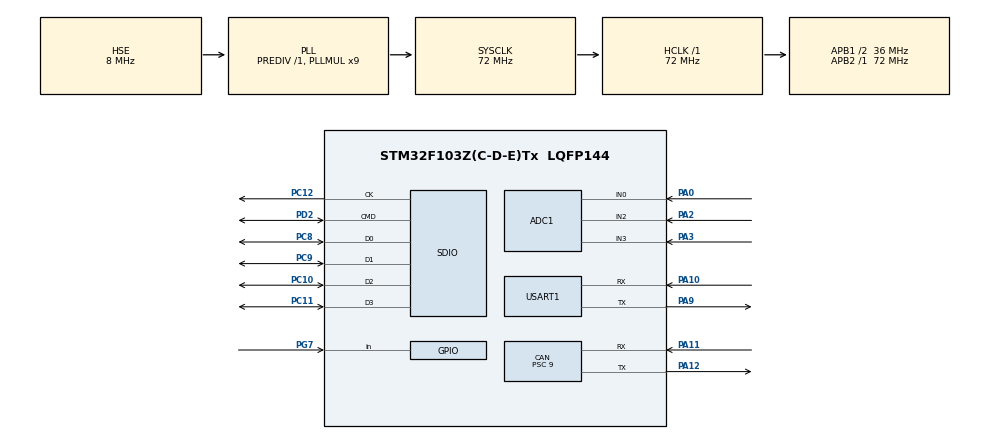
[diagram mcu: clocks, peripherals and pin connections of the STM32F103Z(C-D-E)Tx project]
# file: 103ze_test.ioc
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ADC1.Channel-16\#ChannelRegularConversion=ADC_CHANNEL_0
ADC1.Channel-17\#ChannelRegularConversion=ADC_CHANNEL_3
ADC1.Channel-18\#ChannelRegularConversion=ADC_CHANNEL_2
ADC1.ContinuousConvMode=ENABLE
ADC1.DiscontinuousConvMode=DISABLE
ADC1.EnableRegularConversion=ENABLE
ADC1.InjNumberOfConversion=0
ADC1.NbrOfConversion=3
ADC1.NbrOfConversionFlag=1
ADC1.Rank-16\#ChannelRegularConversion=1
ADC1.Rank-17\#ChannelRegularConversion=2
ADC1.Rank-18\#ChannelRegularConversion=3
ADC1.SamplingTime-16\#ChannelRegularConversion=ADC_SAMPLETIME_1CYCLE_5
ADC1.SamplingTime-17\#ChannelRegularConversion=ADC_SAMPLETIME_1CYCLE_5
ADC1.SamplingTime-18\#ChannelRegularConversion=ADC_SAMPLETIME_1CYCLE_5
ADC1.master=1
CAN.BS1=CAN_BS1_3TQ
CAN.BS2=CAN_BS2_4TQ
CAN.CalculateTimeBit=2000
CAN.CalculateTimeQuantum=250.0
CAN.NART=ENABLE
CAN.Prescaler=9
Dma.ADC1.2.Direction=DMA_PERIPH_TO_MEMORY
Dma.ADC1.2.Instance=DMA1_Channel1
Dma.ADC1.2.MemDataAlignment=DMA_MDATAALIGN_HALFWORD
Dma.ADC1.2.MemInc=DMA_MINC_ENABLE
Dma.ADC1.2.Mode=DMA_CIRCULAR
Dma.ADC1.2.PeriphDataAlignment=DMA_PDATAALIGN_HALFWORD
Dma.ADC1.2.PeriphInc=DMA_PINC_DISABLE
Dma.ADC1.2.Priority=DMA_PRIORITY_LOW
Dma.Request0=USART1_RX
Dma.Request1=USART1_TX
Dma.Request2=ADC1
Dma.USART1_RX.0.Direction=DMA_PERIPH_TO_MEMORY
Dma.USART1_RX.0.Instance=DMA1_Channel5
Dma.USART1_RX.0.MemDataAlignment=DMA_MDATAALIGN_BYTE
Dma.USART1_RX.0.MemInc=DMA_MINC_ENABLE
Dma.USART1_RX.0.Mode=DMA_NORMAL
Dma.USART1_RX.0.PeriphDataAlignment=DMA_PDATAALIGN_BYTE
Dma.USART1_RX.0.PeriphInc=DMA_PINC_DISABLE
Dma.USART1_RX.0.Priority=DMA_PRIORITY_LOW
Dma.USART1_TX.1.Direction=DMA_MEMORY_TO_PERIPH
Dma.USART1_TX.1.Instance=DMA1_Channel4
Dma.USART1_TX.1.MemDataAlignment=DMA_MDATAALIGN_BYTE
Dma.USART1_TX.1.MemInc=DMA_MINC_ENABLE
Dma.USART1_TX.1.Mode=DMA_NORMAL
Dma.USART1_TX.1.PeriphDataAlignment=DMA_PDATAALIGN_BYTE
Dma.USART1_TX.1.PeriphInc=DMA_PINC_DISABLE
Dma.USART1_TX.1.Priority=DMA_PRIORITY_LOW
FATFS.BSP.number=1
FATFS0.BSP.STBoard=false
FATFS0.BSP.api=Unknown
FATFS0.BSP.i2caddr=0
FATFS0.BSP.instance=PG7
FATFS0.BSP.ip=GPIO
FATFS0.BSP.mode=Input
FATFS0.BSP.name=Detect_SDIO
FATFS0.BSP.solution=PG7
Mcu.Family=STM32F1
Mcu.Name=STM32F103Z(C-D-E)Tx
Mcu.Package=LQFP144
NVIC.ADC1_2_IRQn=true\:0\:0\:false\:false\:true\:true
NVIC.CAN1_RX1_IRQn=true\:0\:0\:false\:false\:true\:true
NVIC.CAN1_SCE_IRQn=true\:0\:0\:false\:false\:true\:true
NVIC.DMA1_Channel1_IRQn=true\:0\:0\:false\:false\:true\:false
NVIC.DMA1_Channel4_IRQn=true\:0\:0\:false\:false\:true\:false
NVIC.DMA1_Channel5_IRQn=true\:0\:0\:false\:false\:true\:false
NVIC.PriorityGroup=NVIC_PRIORITYGROUP_4
NVIC.TIM6_IRQn=true\:0\:0\:false\:false\:true\:true
NVIC.TIM7_IRQn=true\:0\:0\:false\:false\:true\:true
NVIC.USART1_IRQn=true\:0\:0\:false\:false\:true\:true
NVIC.USB_HP_CAN1_TX_IRQn=true\:0\:0\:false\:false\:true\:true
NVIC.USB_LP_CAN1_RX0_IRQn=true\:0\:0\:false\:false\:true\:true
OSC_IN.Mode=HSE-External-Oscillator
OSC_IN.Signal=RCC_OSC_IN
OSC_OUT.Mode=HSE-External-Oscillator
OSC_OUT.Signal=RCC_OSC_OUT
PA0-WKUP.Signal=ADCx_IN0
PA10.Mode=Asynchronous
PA10.Signal=USART1_RX
PA11.Mode=Master
PA11.Signal=CAN_RX
PA12.Mode=Master
PA12.Signal=CAN_TX
PA13.Mode=Trace_Asynchronous_SW
PA13.Signal=SYS_JTMS-SWDIO
PA14.Mode=Trace_Asynchronous_SW
PA14.Signal=SYS_JTCK-SWCLK
PA2.Signal=ADCx_IN2
PA3.Signal=ADCx_IN3
PA9.Mode=Asynchronous
PA9.Signal=USART1_TX
PB3.Mode=Trace_Asynchronous_SW
PB3.Signal=SYS_JTDO-TRACESWO
PC10.Mode=SD_4_bits_Wide_bus
PC10.Signal=SDIO_D2
PC11.Mode=SD_4_bits_Wide_bus
PC11.Signal=SDIO_D3
PC12.Mode=SD_4_bits_Wide_bus
PC12.Signal=SDIO_CK
PC8.Mode=SD_4_bits_Wide_bus
PC8.Signal=SDIO_D0
PC9.Mode=SD_4_bits_Wide_bus
PC9.Signal=SDIO_D1
PD2.Mode=SD_4_bits_Wide_bus
PD2.Signal=SDIO_CMD
PG7.Signal=GPIO_Input
ProjectManager.HeapSize=0x200
ProjectManager.StackSize=0x400
ProjectManager.TargetToolchain=MDK-ARM V5
RCC.ADCPresc=RCC_ADCPCLK2_DIV6
RCC.AHBFreq_Value=72000000
RCC.APB1CLKDivider=RCC_HCLK_DIV2
RCC.APB1Freq_Value=36000000
RCC.APB1TimFreq_Value=72000000
RCC.APB2Freq_Value=72000000
RCC.APB2TimFreq_Value=72000000
RCC.HCLKFreq_Value=72000000
RCC.PLLMUL=RCC_PLL_MUL9
RCC.PLLSourceVirtual=RCC_PLLSOURCE_HSE
RCC.SYSCLKFreq_VALUE=72000000
RCC.SYSCLKSource=RCC_SYSCLKSOURCE_PLLCLK
RCC.USBFreq_Value=72000000
SH.ADCx_IN0.0=ADC1_IN0,IN0
SH.ADCx_IN2.0=ADC1_IN2,IN2
SH.ADCx_IN3.0=ADC1_IN3,IN3
TIM6.AutoReloadPreload=TIM_AUTORELOAD_PRELOAD_ENABLE
TIM6.Period=65535
TIM6.Prescaler=64
TIM7.AutoReloadPreload=TIM_AUTORELOAD_PRELOAD_ENABLE
TIM7.Period=2000
TIM7.Prescaler=1
USART1.VirtualMode=VM_ASYNC
VP_FATFS_VS_SDIO.Mode=SDIO
VP_TIM6_VS_ClockSourceINT.Mode=Enable_Timer
VP_TIM7_VS_ClockSourceINT.Mode=Enable_Timer
board=custom

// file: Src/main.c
/* USER CODE BEGIN Header */
/**
  ******************************************************************************
  * @file           : main.c
  * @brief          : Main program body
  ******************************************************************************
  ** This notice applies to any and all portions of this file
  * that are not between comment pairs USER CODE BEGIN and
  * USER CODE END. Other portions of this file, whether
  * inserted by the user or by software development tools
  * are owned by their respective copyright owners.
  *
  * COPYRIGHT(c) 2019 STMicroelectronics
  *
  * Redistribution and use in source and binary forms, with or without modification,
  * are permitted provided that the following conditions are met:
  *   1. Redistributions of source code must retain the above copyright notice,
  *      this list of conditions and the following disclaimer.
  *   2. Redistributions in binary form must reproduce the above copyright notice,
  *      this list of conditions and the following disclaimer in the documentation
  *      and/or other materials provided with the distribution.
  *   3. Neither the name of STMicroelectronics nor the names of its contributors
  *      may be used to endorse or promote products derived from this software
  *      without specific prior written permission.
  *
  * THIS SOFTWARE IS PROVIDED BY THE COPYRIGHT HOLDERS AND CONTRIBUTORS "AS IS"
  * AND ANY EXPRESS OR IMPLIED WARRANTIES, INCLUDING, BUT NOT LIMITED TO, THE
  * IMPLIED WARRANTIES OF MERCHANTABILITY AND FITNESS FOR A PARTICULAR PURPOSE ARE
  * DISCLAIMED. IN NO EVENT SHALL THE COPYRIGHT HOLDER OR CONTRIBUTORS BE LIABLE
  * FOR ANY DIRECT, INDIRECT, INCIDENTAL, SPECIAL, EXEMPLARY, OR CONSEQUENTIAL
  * DAMAGES (INCLUDING, BUT NOT LIMITED TO, PROCUREMENT OF SUBSTITUTE GOODS OR
  * SERVICES; LOSS OF USE, DATA, OR PROFITS; OR BUSINESS INTERRUPTION) HOWEVER
  * CAUSED AND ON ANY THEORY OF LIABILITY, WHETHER IN CONTRACT, STRICT LIABILITY,
  * OR TORT (INCLUDING NEGLIGENCE OR OTHERWISE) ARISING IN ANY WAY OUT OF THE USE
  * OF THIS SOFTWARE, EVEN IF ADVISED OF THE POSSIBILITY OF SUCH DAMAGE.
  *
  ******************************************************************************
  */
/* USER CODE END Header */

#include "main.h"
#include "adc.h"
#include "can.h"
#include "dma.h"
#include "fatfs.h"
#include "sdio.h"
#include "tim.h"
#include "usart.h"
#include "gpio.h"

/* USER CODE BEGIN Includes */
#include "stdio.h"
#include "string.h"
#include <math.h>
/* USER CODE END Includes */

/* USER CODE BEGIN PD */
#define BUFFER_SIZE 2

#define TIMER_TIM			htim6	// can only use 32bit timers TIM2 or TIM5
#define TIMER_CLOCK			(rccClocks.PCLK1_Frequency * 2)
#define TIMER_EN			RCC_APB1PeriphClockCmd(RCC_APB1Periph_TIM6, ENABLE)
#define TIMER_IRQ_CH		TIM6_IRQn
#define TIMER_ISR			TIM6_IRQHandler
//#define TIMER_CORE_HALT		DBGMCU_TIM5_STOP

#define timerMicros()		(uint32_t)((uint32_t)TIMER_TIM.Instance->CNT+clock6high8)
#define timerStart()		timerStart = timerMicros()
#define timerStop()			(timerMicros() - timerStart)
/* USER CODE END PD */

/* USER CODE BEGIN PV */
uint8_t rx_buffer[BUFFER_SIZE]={0};
uint32_t clock6high8=0,timerStart;
   char str[100]={0};
uint16_t adc_con_val[100]={0};

/* USER CODE END PV */

void SystemClock_Config(void);
/* USER CODE BEGIN PFP */
void	UserTaskEntry(void);
void	UserTaskEntry1(void);

/* USER CODE END PFP */

/* USER CODE BEGIN 0 */
void DMA_Usart_Send(uint8_t *buf,uint8_t len)//串口发送封装
{
//    while (HAL_DMA_GetState(&hdma_usart1_tx) != HAL_DMA_STATE_READY){}
//      while (0!= usart1_send_complete_flag){}

//    while ((hdma_usart1_tx.Instance->CNDTR)>0);
			HAL_UART_Transmit_DMA(&huart1, buf,len);
//	    while (HAL_DMA_GetState(&hdma_usart1_tx) != HAL_DMA_STATE_READY){}

      	while (huart1.gState==HAL_UART_STATE_BUSY_TX){;	}
//				usart1_send_complete_flag=1;

}

void HAL_UART_RxCpltCallback(UART_HandleTypeDef *UartHandle){
    if(rx_buffer[0]!=0x0D)
     HAL_UART_Transmit_DMA(&huart1,rx_buffer,sizeof(rx_buffer)-1);//可以通过DMA把数据发出去
    else
			     HAL_UART_Transmit_DMA(&huart1,(uint8_t*)"\r\n",2);//可以通过DMA把数据发出去

    HAL_UART_Receive_DMA(&huart1, (uint8_t *)rx_buffer, sizeof(rx_buffer)-1);    //重新使能接收
}
//回调函数，定时器中断服务函数调用的HAL库函数调用
void HAL_TIM_PeriodElapsedCallback(TIM_HandleTypeDef *htim)
{
    if(htim==(&htim6))
    {
//				DMA_Usart_Send((uint8_t*)"begin6\r\n",8);
        clock6high8+=0x10000;

    }
    if(htim==(&htim7))
    {
    }
}
/* USER CODE END 0 */

int main(void)
{

  /* MCU Configuration--------------------------------------------------------*/

  /* Reset of all peripherals, Initializes the Flash interface and the Systick. */
  HAL_Init();

  /* Configure the system clock */
  SystemClock_Config();

  /* Initialize all configured peripherals */
  MX_GPIO_Init();
  MX_DMA_Init();
  MX_USART1_UART_Init();
  MX_TIM6_Init();
  MX_TIM7_Init();
  MX_ADC1_Init();
  MX_SDIO_SD_Init();
  MX_FATFS_Init();
  MX_CAN_Init();
  /* USER CODE BEGIN 2 */
//	UserTaskEntry();
	UserTaskEntry1();
  /* USER CODE END 2 */

  /* Infinite loop */
  while (1)
  {

  }
}

void SystemClock_Config(void)
{
  RCC_OscInitTypeDef RCC_OscInitStruct = {0};
  RCC_ClkInitTypeDef RCC_ClkInitStruct = {0};
  RCC_PeriphCLKInitTypeDef PeriphClkInit = {0};

  /**Initializes the CPU, AHB and APB busses clocks
  */
  RCC_OscInitStruct.OscillatorType = RCC_OSCILLATORTYPE_HSE;
  RCC_OscInitStruct.HSEState = RCC_HSE_ON;
  RCC_OscInitStruct.HSEPredivValue = RCC_HSE_PREDIV_DIV1;
  RCC_OscInitStruct.HSIState = RCC_HSI_ON;
  RCC_OscInitStruct.PLL.PLLState = RCC_PLL_ON;
  RCC_OscInitStruct.PLL.PLLSource = RCC_PLLSOURCE_HSE;
  RCC_OscInitStruct.PLL.PLLMUL = RCC_PLL_MUL9;
  if (HAL_RCC_OscConfig(&RCC_OscInitStruct) != HAL_OK)
  {
    Error_Handler();
  }
  /**Initializes the CPU, AHB and APB busses clocks
  */
  RCC_ClkInitStruct.ClockType = RCC_CLOCKTYPE_HCLK|RCC_CLOCKTYPE_SYSCLK
                              |RCC_CLOCKTYPE_PCLK1|RCC_CLOCKTYPE_PCLK2;
  RCC_ClkInitStruct.SYSCLKSource = RCC_SYSCLKSOURCE_PLLCLK;
  RCC_ClkInitStruct.AHBCLKDivider = RCC_SYSCLK_DIV1;
  RCC_ClkInitStruct.APB1CLKDivider = RCC_HCLK_DIV2;
  RCC_ClkInitStruct.APB2CLKDivider = RCC_HCLK_DIV1;

  if (HAL_RCC_ClockConfig(&RCC_ClkInitStruct, FLASH_LATENCY_2) != HAL_OK)
  {
    Error_Handler();
  }
  PeriphClkInit.PeriphClockSelection = RCC_PERIPHCLK_ADC;
  PeriphClkInit.AdcClockSelection = RCC_ADCPCLK2_DIV6;
  if (HAL_RCCEx_PeriphCLKConfig(&PeriphClkInit) != HAL_OK)
  {
    Error_Handler();
  }
}

/* USER CODE BEGIN 4 */
void	UserTaskEntry(void){
	volatile uint32_t i=0,temptime=0,temptime1=0;
	volatile uint32_t testint32=0,q2=0xffffffff,q3=0xf0000000;
	volatile float testfloat=1.1f,q1=1.1f,q4=2.2f;
	volatile double testdouble=1.1,q5=1.1f,q6=2.2f,q7=3.3f;

	HAL_UART_Receive_DMA(&huart1, (uint8_t *)rx_buffer, sizeof(rx_buffer)-1);//qi启动usart receive
//	DMA_Usart_Send((uint8_t*)"begin\r\n",7);
//	for(;i>0;i--)
// 	sprintf(str,"timerMicros = %d\r\n",timerMicros());
//  DMA_Usart_Send((uint8_t*)str,strlen(str));
	/////////////////////////////////////
	i=0xffffffff;temptime=0xffffffff;
	timerStart();
	i=3000;
	for(;i>0;i--){
	}
temptime=	timerStop();
///////////////////////////////////////
	i=0xffffffff;temptime1=0xffffffff;
	timerStart();
	i=3000;
	for(;i>0;i--){
//		testdouble=testdouble+testdouble;
//		 testfloat=q1-q4;
//		 testint32=q2*q3;
testfloat=sin(i);
	}
	temptime1=timerStop();
 	sprintf(str,"testdouble = %d\r\n",temptime1-temptime);
  DMA_Usart_Send((uint8_t*)str,strlen(str));
/////////////////////////////////////////////
//	i=0;
//	timerStart();
//	i=300000;
//	for(;i>0;i--){
//testint32=q2*q3;
//	}
//	temptime1=timerStop();
// 	sprintf(str,"testint32 = %d\r\n",temptime1-temptime);
//  DMA_Usart_Send((uint8_t*)str,strlen(str));
///////////////////////////////////////////////
//	i=0;
//	timerStart();
//	i=300000;
//	for(;i>0;i--){
//testfloat=q1*q4;
//	}
//	temptime1=timerStop();
// 	sprintf(str,"testfloat = %d\r\n",temptime1-temptime);
//  DMA_Usart_Send((uint8_t*)str,strlen(str));
//
//	 	sprintf(str,"double int32_t float = %d\t%d\t%d\r\n",sizeof(double),sizeof(int32_t),sizeof(float));
//  DMA_Usart_Send((uint8_t*)str,strlen(str));
// 	sprintf(str,"runover = %d\r\n",timerMicros());
//  DMA_Usart_Send((uint8_t*)str,strlen(str));

}

void	UserTaskEntry1(void){
	DMA_Usart_Send((uint8_t*)"begin\r\n",7);

//HAL_ADC_Start(&hadc1);
 HAL_NVIC_DisableIRQ(DMA1_Channel1_IRQn);

	HAL_ADC_Start_DMA(&hadc1,(uint32_t*)adc_con_val,3);
	while(1){
 	sprintf(str,"adc =\t%d\t%d\t%d\t%d\t%d\t\r\n",adc_con_val[0],adc_con_val[1],adc_con_val[2],adc_con_val[3],adc_con_val[4]);
  DMA_Usart_Send((uint8_t*)str,strlen(str));

	}
}

/* USER CODE END 4 */

void Error_Handler(void)
{
}

/************************ (C) COPYRIGHT STMicroelectronics *****END OF FILE****/
